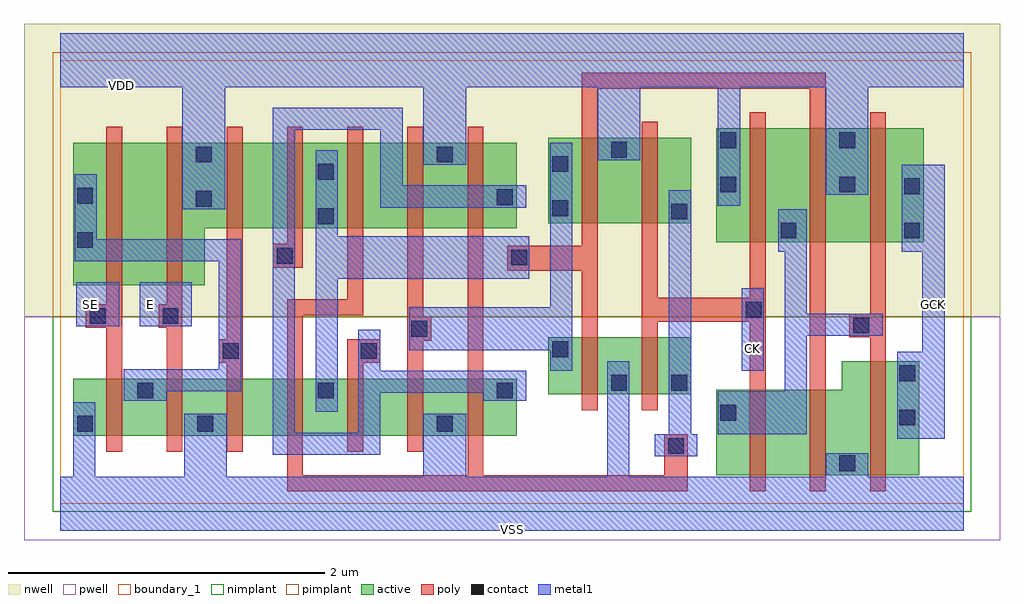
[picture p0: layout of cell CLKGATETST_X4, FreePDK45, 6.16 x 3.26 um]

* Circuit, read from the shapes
.subckt CLKGATETST_X4 CK E GCK SE VDD VSS
M1 n1 SE VSS VSUBS nfet w=0.36u l=0.1u
M2 VSS E n1 VSUBS nfet w=0.36u l=0.1u
M3 n2 n1 VSS VSUBS nfet w=0.36u l=0.1u
M4 n3 n4 n2 VSUBS nfet w=0.36u l=0.1u
M5 n5 n6 n3 VSUBS nfet w=0.36u l=0.1u
M6 VSS n7 n5 VSUBS nfet w=0.36u l=0.1u
M7 n6 n4 VSS VSUBS nfet w=0.36u l=0.1u
M8 VSS n3 n7 VSUBS nfet w=0.36u l=0.1u
M9 n4 CK VSS VSUBS nfet w=0.36u l=0.1u
M10 n8 CK n9 VSUBS nfet w=0.54u l=0.1u
M11 VSS n3 n8 VSUBS nfet w=0.54u l=0.1u
M12 GCK n9 VSS VSUBS nfet w=0.72u l=0.1u
M13 n10 SE n1 n11 pfet w=0.9u l=0.1u
M14 VDD E n10 n11 pfet w=0.9u l=0.1u
M15 n12 n1 VDD n11 pfet w=0.54u l=0.1u
M16 n3 n6 n12 n11 pfet w=0.54u l=0.1u
M17 n13 n4 n3 n11 pfet w=0.54u l=0.1u
M18 VDD n7 n13 n11 pfet w=0.54u l=0.1u
M19 n6 n4 VDD n11 pfet w=0.54u l=0.1u
M20 VDD n3 n7 n11 pfet w=0.54u l=0.1u
M21 n4 CK VDD n11 pfet w=0.54u l=0.1u
M22 n9 CK VDD n11 pfet w=0.72u l=0.1u
M23 VDD n3 n9 n11 pfet w=0.72u l=0.1u
M24 GCK n9 VDD n11 pfet w=0.72u l=0.1u
.ends

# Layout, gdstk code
import gdstk
lib = gdstk.Library(unit=1e-6, precision=1e-09)
def R(c, l, rs):  # rectangles x0, y0, x1, y1
    for r in rs: c.add(gdstk.rectangle(r[:2], r[2:], *l))
def P(c, l, *ps):  # polygons
    for p in ps: c.add(gdstk.Polygon(p, *l))
active = (1, 0)
pwell = (2, 0)
nwell = (3, 0)
nimplant = (4, 0)
pimplant = (5, 0)
poly = (9, 0)
contact = (10, 0)
metal1 = (11, 0)
boundary_1 = (235, 1)

clkgatetst_x4 = lib.new_cell('CLKGATETST_X4')
R(clkgatetst_x4, active, [(0.08,0.43,2.88,0.79), (3.08,0.69,3.98,1.05), (4.14,1.65,5.45,2.37), (3.08,1.77,3.98,2.31)])
P(clkgatetst_x4, active, [(4.14,0.18),(5.42,0.18),(5.42,0.9),(4.93,0.9),(4.93,0.72),(4.14,0.72)],
  [(0.08,1.38),(0.91,1.38),(0.91,1.74),(2.88,1.74),(2.88,2.28),(0.08,2.28)])
R(clkgatetst_x4, pwell, [(-0.23,-0.23,5.93,1.18)])
R(clkgatetst_x4, nwell, [(-0.23,1.18,5.93,3.03)])
R(clkgatetst_x4, nimplant, [(-0.05,-0.05,5.75,1.18)])
R(clkgatetst_x4, pimplant, [(-0.05,1.18,5.75,2.85)])
P(clkgatetst_x4, poly, [(4.98,1.05),(5.11,1.05),(5.11,0.08),(5.21,0.08),(5.21,2.47),(5.11,2.47),(5.11,1.2),(4.98,1.2)],
  [(2.82,1.47),(3.29,1.47),(3.29,0.59),(3.39,0.59),(3.39,2.62),(4.73,2.62),(4.73,0.08),(4.83,0.08),(4.83,2.72),(3.29,2.72),(3.29,1.63),(2.82,1.63)],
  [(3.67,0.59),(3.77,0.59),(3.77,1.15),(4.35,1.15),(4.35,0.08),(4.45,0.08),(4.45,2.47),(4.35,2.47),(4.35,1.3),(3.77,1.3),(3.77,2.41),(3.67,2.41)],
  [(1.43,0.08),(3.96,0.08),(3.96,0.44),(3.81,0.44),(3.81,0.18),(2.67,0.18),(2.67,2.38),(2.57,2.38),(2.57,0.18),(1.53,0.18),(1.53,1.19),(1.91,1.19),(1.91,2.38),(1.81,2.38),(1.81,1.29),(1.43,1.29)],
  [(2.19,0.33),(2.29,0.33),(2.29,1.03),(2.34,1.03),(2.34,1.18),(2.29,1.18),(2.29,2.38),(2.19,2.38)],
  [(1.81,0.33),(1.91,0.33),(1.91,0.89),(2.02,0.89),(2.02,1.04),(1.81,1.04)],
  [(1.34,1.49),(1.53,1.49),(1.53,2.38),(1.43,2.38),(1.43,1.64),(1.34,1.64)],
  [(1,0.89),(1.05,0.89),(1.05,0.33),(1.15,0.33),(1.15,2.38),(1.05,2.38),(1.05,1.04),(1,1.04)],
  [(0.62,1.11),(0.67,1.11),(0.67,0.33),(0.77,0.33),(0.77,2.38),(0.67,2.38),(0.67,1.26),(0.62,1.26)],
  [(0.16,1.11),(0.29,1.11),(0.29,0.33),(0.39,0.33),(0.39,2.38),(0.29,2.38),(0.29,1.26),(0.16,1.26)])
R(clkgatetst_x4, contact, [(4.915,0.205,5.015,0.305), (3.835,0.315,3.935,0.415), (0.105,0.455,0.205,0.555), (0.865,0.455,0.965,0.555), (2.375,0.455,2.475,0.555), (5.295,0.495,5.395,0.595), (4.165,0.525,4.265,0.625), (0.485,0.665,0.585,0.765), (1.625,0.665,1.725,0.765), (2.755,0.665,2.855,0.765), (3.475,0.715,3.575,0.815), (3.855,0.715,3.955,0.815), (5.295,0.775,5.395,0.875), (1.025,0.915,1.125,1.015), (1.895,0.915,1.995,1.015), (3.105,0.925,3.205,1.025), (2.215,1.055,2.315,1.155), (5.005,1.075,5.105,1.175), (0.185,1.135,0.285,1.235), (0.645,1.135,0.745,1.235), (4.325,1.175,4.425,1.275), (2.845,1.505,2.945,1.605), (1.365,1.515,1.465,1.615), (0.105,1.615,0.205,1.715), (4.545,1.675,4.645,1.775), (5.325,1.675,5.425,1.775), (1.625,1.765,1.725,1.865), (3.855,1.795,3.955,1.895), (3.105,1.815,3.205,1.915), (0.855,1.875,0.955,1.975), (2.755,1.885,2.855,1.985), (0.105,1.895,0.205,1.995), (5.325,1.955,5.425,2.055), (4.165,1.965,4.265,2.065), (4.915,1.965,5.015,2.065), (1.625,2.045,1.725,2.145), (3.105,2.095,3.205,2.195), (0.855,2.155,0.955,2.255), (2.375,2.155,2.475,2.255), (3.475,2.185,3.575,2.285), (4.165,2.245,4.265,2.345), (4.915,2.245,5.015,2.345)])
R(clkgatetst_x4, metal1, [(4.3,0.84,4.44,1.36), (4.3,0.84,4.44,1.36), (0.1,1.12,0.37,1.4), (0.1,1.12,0.37,1.4), (0.5,1.12,0.83,1.4), (0.5,1.12,0.83,1.4)])
P(clkgatetst_x4, metal1, [(5.31,1.59),(5.44,1.59),(5.44,0.96),(5.28,0.96),(5.28,0.41),(5.58,0.41),(5.58,2.14),(5.31,2.14)],
  [(0,-0.17),(5.7,-0.17),(5.7,0.17),(5.1,0.17),(5.1,0.32),(4.83,0.32),(4.83,0.17),(3.59,0.17),(3.59,0.9),(3.45,0.9),(3.45,0.17),(2.56,0.17),(2.56,0.57),(2.29,0.57),(2.29,0.17),(1.05,0.17),(1.05,0.57),(0.78,0.57),(0.78,0.17),(0.22,0.17),(0.22,0.64),(0.08,0.64),(0.08,0.17),(0,0.17)],
  [(0,2.63),(0.77,2.63),(0.77,1.86),(1.04,1.86),(1.04,2.63),(2.29,2.63),(2.29,2.14),(2.56,2.14),(2.56,2.63),(3.39,2.63),(3.39,2.17),(3.66,2.17),(3.66,2.63),(4.15,2.63),(4.15,1.88),(4.29,1.88),(4.29,2.63),(4.83,2.63),(4.83,1.95),(5.1,1.95),(5.1,2.63),(5.7,2.63),(5.7,2.97),(0,2.97)],
  [(0,2.63),(0.77,2.63),(0.77,1.86),(1.04,1.86),(1.04,2.63),(2.29,2.63),(2.29,2.14),(2.56,2.14),(2.56,2.63),(3.39,2.63),(3.39,2.17),(3.66,2.17),(3.66,2.63),(4.15,2.63),(4.15,1.88),(4.29,1.88),(4.29,2.63),(4.83,2.63),(4.83,1.95),(5.1,1.95),(5.1,2.63),(5.7,2.63),(5.7,2.97),(0,2.97)],
  [(0,-0.17),(5.7,-0.17),(5.7,0.17),(5.1,0.17),(5.1,0.32),(4.83,0.32),(4.83,0.17),(3.59,0.17),(3.59,0.9),(3.45,0.9),(3.45,0.17),(2.56,0.17),(2.56,0.57),(2.29,0.57),(2.29,0.17),(1.05,0.17),(1.05,0.57),(0.78,0.57),(0.78,0.17),(0.22,0.17),(0.22,0.64),(0.08,0.64),(0.08,0.17),(0,0.17)],
  [(5.31,1.59),(5.44,1.59),(5.44,0.96),(5.28,0.96),(5.28,0.41),(5.58,0.41),(5.58,2.14),(5.31,2.14)],
  [(4.53,1.59),(4.57,1.59),(4.57,0.71),(4.15,0.71),(4.15,0.44),(4.71,0.44),(4.71,1.06),(5.19,1.06),(5.19,1.2),(4.71,1.2),(4.71,1.86),(4.53,1.86)],
  [(3.75,0.3),(4.02,0.3),(4.02,0.44),(3.98,0.44),(3.98,1.98),(3.84,1.98),(3.84,0.44),(3.75,0.44)],
  [(2.2,0.97),(3.09,0.97),(3.09,0.84),(3.23,0.84),(3.23,2.28),(3.09,2.28),(3.09,1.24),(2.2,1.24)],
  [(1.61,0.58),(1.75,0.58),(1.75,1.42),(2.96,1.42),(2.96,1.69),(1.75,1.69),(1.75,2.23),(1.61,2.23)],
  [(1.48,2.36),(2.02,2.36),(2.02,1.87),(2.94,1.87),(2.94,2.01),(2.16,2.01),(2.16,2.5),(1.34,2.5),(1.34,0.31),(2.02,0.31),(2.02,0.7),(2.67,0.7),(2.67,0.65),(2.94,0.65),(2.94,0.84),(2.02,0.84),(2.02,1.1),(1.88,1.1),(1.88,0.45),(1.48,0.45)],
  [(0.09,1.53),(1,1.53),(1,0.85),(0.4,0.85),(0.4,0.65),(0.67,0.65),(0.67,0.71),(1.14,0.71),(1.14,1.67),(0.23,1.67),(0.23,2.08),(0.09,2.08)])
R(clkgatetst_x4, boundary_1, [(0,0,5.7,2.8)])
clkgatetst_x4.add(gdstk.Label('VSS', (2.85,-0.16), layer=11, texttype=0))
clkgatetst_x4.add(gdstk.Label('VDD', (0.385,2.64), layer=11, texttype=0))
clkgatetst_x4.add(gdstk.Label('SE', (0.19,1.26), layer=11, texttype=0))
clkgatetst_x4.add(gdstk.Label('GCK', (5.51,1.26), layer=11, texttype=0))
clkgatetst_x4.add(gdstk.Label('E', (0.57,1.26), layer=11, texttype=0))
clkgatetst_x4.add(gdstk.Label('CK', (4.37,0.98), layer=11, texttype=0))

lib.write_gds('CLKGATETST_X4.gds')
